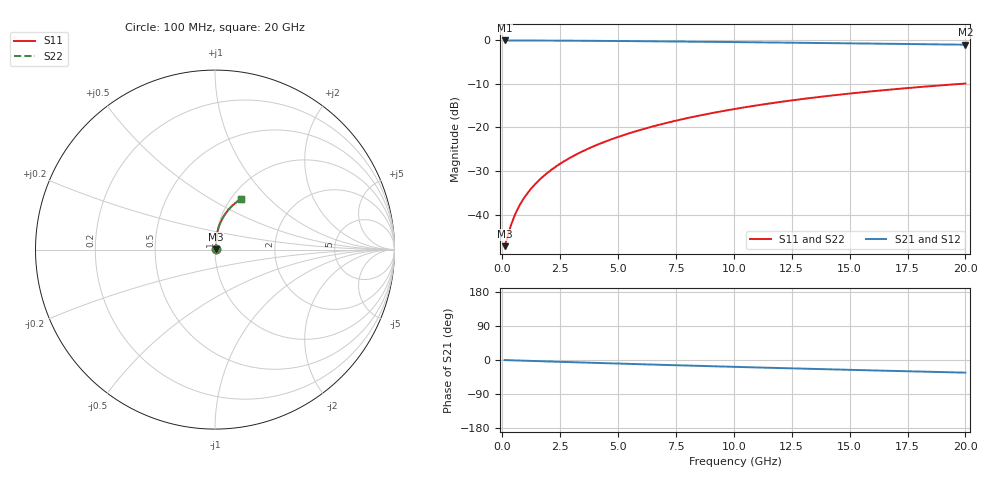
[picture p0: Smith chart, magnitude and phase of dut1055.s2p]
! Touchstone file exported from HFSS 2024.1.0
!  File:  C:/UserFiles/LocalFiles/RDL_TSV_Batchsim/temp_RDL_top_1055_1780044624.aedt
!  Generated:  04:52:40 PM May 29, 2026
!  Design:  RDL_top
!  Project:  temp_RDL_top_1055_1780044624
!  Setup:  Setup1
!  Solution:  Sweep
! Variables:
!  dtsv = 10.80580581um
!  hbump = 3um
!  htsv = 64.24um
!  ldown = 100um
!  lrdl = 465.78um
!  p = 40
!  p1 = 42.79um
!  rhole = 1um
!  t = 450um
!  tdown = 3.915915916um
!  trdl = 2.2um
!  wdown = 15.38538539um
!  wrdl = 20.22um
# GHz S MA R 50.000000
! Terminal data exported
! Port[1] = Box2_T1
! Port[2] = Box2_T2
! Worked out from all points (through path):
!   200 points, 100 MHz to 20 GHz, reference 50 ohm
!   highest |S21| = -0.03 dB at 100 MHz (marker M1); lowest = -1.0 dB at 20 GHz (marker M2)
!   group delay of S21, straight-line fit = 4.61 ps
!   lowest |S11| = -47.2 dB at 100 MHz (marker M3), VSWR 1.01, Z = 50.4 + j0.171 ohm
!   |S11| at or under -10 dB: start of sweep to 19.79 GHz
!   |S22| runs from -47.2 to -9.9 dB; largest |S21 - S12| = 3e-15
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0.1  0.004348 22.9  0.996 -0.2  0.996 -0.2  0.004348 22.9
! Gamma 0 0 0 0
! Port Impedance 50 0 50 0
0.4  0.007891 56.5  0.9956 -0.8  0.9956 -0.8  0.007891 56.5
0.5  0.009291 61.0  0.9954 -1.0  0.9954 -1.0  0.009291 61.0
0.6  0.0107 64.3  0.9952 -1.2  0.9952 -1.2  0.0107 64.3
0.7  0.01212 66.8  0.995 -1.4  0.995 -1.4  0.01212 66.8
0.9  0.01495 70.5  0.9946 -1.8  0.9946 -1.8  0.01495 70.5
1.2  0.01923 74.2  0.9941 -2.4  0.9941 -2.4  0.01923 74.2
1.4  0.02211 76.0  0.9937 -2.7  0.9937 -2.7  0.02211 76.0
1.7  0.02648 77.9  0.9931 -3.3  0.9931 -3.3  0.02648 77.9
2.2  0.03389 80.0  0.992 -4.3  0.992 -4.3  0.03389 80.0
2.8  0.04297 81.5  0.9903 -5.4  0.9903 -5.4  0.04297 81.5
3.5  0.05382 82.5  0.988 -6.7  0.988 -6.7  0.05382 82.5
4.2  0.06491 82.8  0.9853 -8.0  0.9853 -8.0  0.0649 82.8
5  0.07786 82.8  0.9818 -9.4  0.9818 -9.4  0.07785 82.8
5.9  0.09273 82.4  0.9775 -11.1  0.9775 -11.1  0.09272 82.4
6.8  0.1078 81.8  0.9729 -12.6  0.9729 -12.6  0.1078 81.8
8.4  0.1351 80.0  0.964 -15.4  0.964 -15.4  0.1351 80.0
10.1  0.1641 77.8  0.9539 -18.2  0.9539 -18.2  0.1641 77.8
11.7  0.1912 75.4  0.9441 -20.8  0.9441 -20.8  0.1912 75.4
13.4  0.2193 72.8  0.9334 -23.5  0.9334 -23.5  0.2193 72.8
16.7  0.2713 67.6  0.9121 -28.5  0.9121 -28.5  0.2713 67.6
20  0.3191 62.6  0.8904 -33.4  0.8904 -33.4  0.3191 62.6
